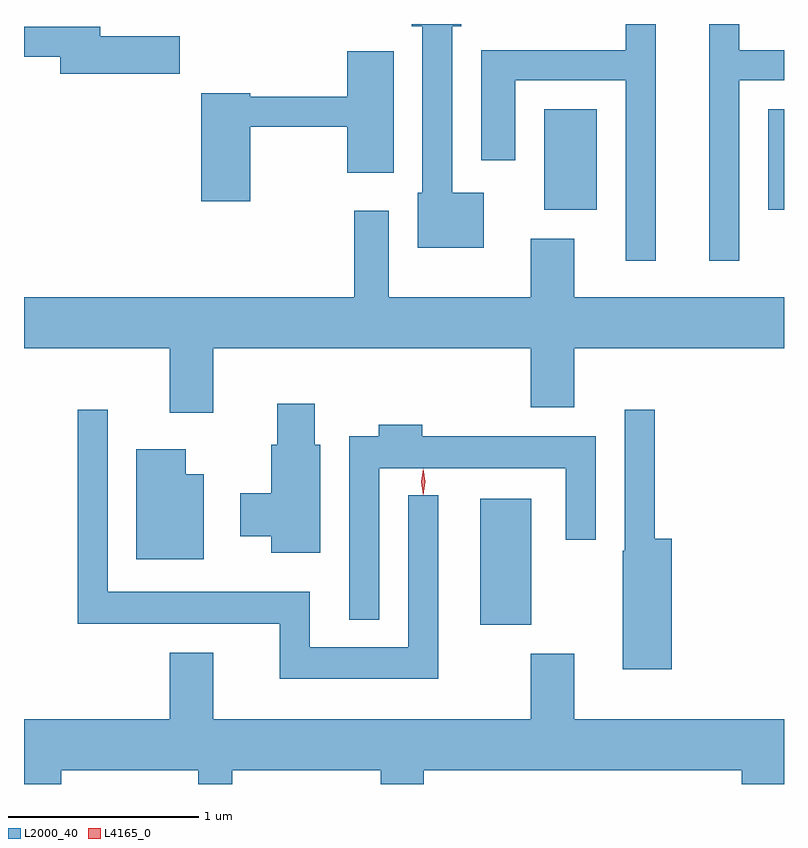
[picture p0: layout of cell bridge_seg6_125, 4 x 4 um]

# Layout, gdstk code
import gdstk
lib = gdstk.Library(unit=1e-6, precision=1e-09)
def R(c, l, rs):  # rectangles x0, y0, x1, y1
    for r in rs: c.add(gdstk.rectangle(r[:2], r[2:], *l))
def P(c, l, *ps):  # polygons
    for p in ps: c.add(gdstk.Polygon(p, *l))
L2000_40 = (2000, 40)
L4165_0 = (4165, 0)

bridge_seg6_125 = lib.new_cell('bridge_seg6_125')
R(bridge_seg6_125, L2000_40, [(1170.226,1630.721,1170.494,1631.384), (1170.561,1632.906,1170.839,1633.434), (1171.741,1632.906,1171.824,1633.434)])
P(bridge_seg6_125, L2000_40, [(1171.149,1633.883),(1170.991,1633.883),(1170.991,1633.744),(1170.231,1633.744),(1170.231,1633.166),(1170.409,1633.166),(1170.409,1633.586),(1170.991,1633.586),(1170.991,1632.638),(1171.149,1632.638)],
  [(1171.589,1633.586),(1171.824,1633.586),(1171.824,1633.744),(1171.589,1633.744),(1171.589,1633.883),(1171.431,1633.883),(1171.431,1632.638),(1171.589,1632.638)],
  [(1170.244,1632.994),(1170.079,1632.994),(1170.079,1633.871),(1170.124,1633.871),(1170.124,1633.883),(1169.866,1633.883),(1169.866,1633.871),(1169.921,1633.871),(1169.921,1632.994),(1169.896,1632.994),(1169.896,1632.706),(1170.244,1632.706)],
  [(1168.644,1633.819),(1168.224,1633.819),(1168.224,1633.869),(1167.824,1633.869),(1167.824,1633.711),(1168.016,1633.711),(1168.016,1633.621),(1168.644,1633.621)],
  [(1169.014,1633.341),(1169.526,1633.341),(1169.526,1633.101),(1169.769,1633.101),(1169.769,1633.739),(1169.526,1633.739),(1169.526,1633.499),(1169.014,1633.499),(1169.014,1633.519),(1168.756,1633.519),(1168.756,1632.951),(1169.014,1632.951)],
  [(1168.819,1632.176),(1170.491,1632.176),(1170.491,1631.866),(1170.719,1631.866),(1170.719,1632.176),(1171.824,1632.176),(1171.824,1632.444),(1170.719,1632.444),(1170.719,1632.754),(1170.491,1632.754),(1170.491,1632.444),(1169.744,1632.444),(1169.744,1632.899),(1169.561,1632.899),(1169.561,1632.444),(1167.824,1632.444),(1167.824,1632.176),(1168.591,1632.176),(1168.591,1631.836),(1168.819,1631.836)],
  [(1169.384,1631.669),(1169.354,1631.669),(1169.354,1631.884),(1169.156,1631.884),(1169.156,1631.669),(1169.126,1631.669),(1169.126,1631.414),(1168.961,1631.414),(1168.961,1631.186),(1169.126,1631.186),(1169.126,1631.101),(1169.384,1631.101)],
  [(1171.234,1631.174),(1171.144,1631.174),(1171.144,1631.853),(1170.986,1631.853),(1170.986,1631.11),(1170.976,1631.11),(1170.976,1630.486),(1171.234,1630.486)],
  [(1170.004,1631.403),(1169.846,1631.403),(1169.846,1630.604),(1169.329,1630.604),(1169.329,1630.894),(1168.264,1630.894),(1168.264,1631.853),(1168.106,1631.853),(1168.106,1630.726),(1169.171,1630.726),(1169.171,1630.436),(1170.004,1630.436)],
  [(1169.694,1631.546),(1170.676,1631.546),(1170.676,1631.168),(1170.834,1631.168),(1170.834,1631.714),(1169.919,1631.714),(1169.919,1631.774),(1169.691,1631.774),(1169.691,1631.714),(1169.536,1631.714),(1169.536,1630.748),(1169.694,1630.748)],
  [(1168.769,1631.514),(1168.674,1631.514),(1168.674,1631.644),(1168.416,1631.644),(1168.416,1631.066),(1168.769,1631.066)],
  [(1168.019,1629.956),(1168.741,1629.956),(1168.741,1629.883),(1168.919,1629.883),(1168.919,1629.956),(1169.701,1629.956),(1169.701,1629.883),(1169.929,1629.883),(1169.929,1629.956),(1171.601,1629.956),(1171.601,1629.883),(1171.824,1629.883),(1171.824,1630.224),(1170.719,1630.224),(1170.719,1630.569),(1170.491,1630.569),(1170.491,1630.224),(1168.819,1630.224),(1168.819,1630.574),(1168.591,1630.574),(1168.591,1630.224),(1167.824,1630.224),(1167.824,1629.883),(1168.019,1629.883)])
P(bridge_seg6_125, L4165_0, [(1169.924,1631.404),(1169.915,1631.473),(1169.924,1631.542),(1169.925,1631.543),(1169.926,1631.542),(1169.935,1631.473),(1169.926,1631.404),(1169.925,1631.404)])

lib.write_gds('bridge_seg6_125.gds')
